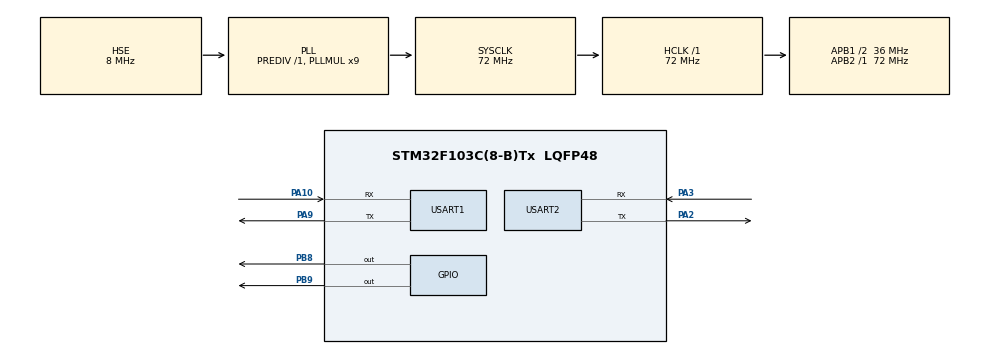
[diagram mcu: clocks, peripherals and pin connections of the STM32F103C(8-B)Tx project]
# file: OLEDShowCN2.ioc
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Dma.Request0=USART1_RX
Dma.Request1=USART1_TX
Dma.Request2=USART2_RX
Dma.Request3=USART2_TX
Dma.USART1_RX.0.Direction=DMA_PERIPH_TO_MEMORY
Dma.USART1_RX.0.Instance=DMA1_Channel5
Dma.USART1_RX.0.MemDataAlignment=DMA_MDATAALIGN_BYTE
Dma.USART1_RX.0.MemInc=DMA_MINC_ENABLE
Dma.USART1_RX.0.Mode=DMA_NORMAL
Dma.USART1_RX.0.PeriphDataAlignment=DMA_PDATAALIGN_BYTE
Dma.USART1_RX.0.PeriphInc=DMA_PINC_DISABLE
Dma.USART1_RX.0.Priority=DMA_PRIORITY_LOW
Dma.USART1_TX.1.Direction=DMA_MEMORY_TO_PERIPH
Dma.USART1_TX.1.Instance=DMA1_Channel4
Dma.USART1_TX.1.MemDataAlignment=DMA_MDATAALIGN_BYTE
Dma.USART1_TX.1.MemInc=DMA_MINC_ENABLE
Dma.USART1_TX.1.Mode=DMA_NORMAL
Dma.USART1_TX.1.PeriphDataAlignment=DMA_PDATAALIGN_BYTE
Dma.USART1_TX.1.PeriphInc=DMA_PINC_DISABLE
Dma.USART1_TX.1.Priority=DMA_PRIORITY_LOW
Dma.USART2_RX.2.Direction=DMA_PERIPH_TO_MEMORY
Dma.USART2_RX.2.Instance=DMA1_Channel6
Dma.USART2_RX.2.MemDataAlignment=DMA_MDATAALIGN_BYTE
Dma.USART2_RX.2.MemInc=DMA_MINC_ENABLE
Dma.USART2_RX.2.Mode=DMA_NORMAL
Dma.USART2_RX.2.PeriphDataAlignment=DMA_PDATAALIGN_BYTE
Dma.USART2_RX.2.PeriphInc=DMA_PINC_DISABLE
Dma.USART2_RX.2.Priority=DMA_PRIORITY_LOW
Dma.USART2_TX.3.Direction=DMA_MEMORY_TO_PERIPH
Dma.USART2_TX.3.Instance=DMA1_Channel7
Dma.USART2_TX.3.MemDataAlignment=DMA_MDATAALIGN_BYTE
Dma.USART2_TX.3.MemInc=DMA_MINC_ENABLE
Dma.USART2_TX.3.Mode=DMA_NORMAL
Dma.USART2_TX.3.PeriphDataAlignment=DMA_PDATAALIGN_BYTE
Dma.USART2_TX.3.PeriphInc=DMA_PINC_DISABLE
Dma.USART2_TX.3.Priority=DMA_PRIORITY_LOW
Mcu.Family=STM32F1
Mcu.Name=STM32F103C(8-B)Tx
Mcu.Package=LQFP48
NVIC.DMA1_Channel4_IRQn=true\:0\:0\:false\:false\:true\:false\:true\:true
NVIC.DMA1_Channel5_IRQn=true\:0\:0\:false\:false\:true\:false\:true\:true
NVIC.DMA1_Channel6_IRQn=true\:0\:0\:false\:false\:true\:false\:true\:true
NVIC.DMA1_Channel7_IRQn=true\:0\:0\:false\:false\:true\:false\:true\:true
NVIC.PriorityGroup=NVIC_PRIORITYGROUP_4
NVIC.USART1_IRQn=true\:0\:0\:false\:false\:true\:false\:true\:true
NVIC.USART2_IRQn=true\:0\:0\:false\:false\:true\:true\:true\:true
PA10.GPIO_Mode=GPIO_MODE_INPUT
PA10.Mode=Asynchronous
PA10.Signal=USART1_RX
PA13.Mode=Serial_Wire
PA13.Signal=SYS_JTMS-SWDIO
PA14.Mode=Serial_Wire
PA14.Signal=SYS_JTCK-SWCLK
PA2.Mode=Asynchronous
PA2.Signal=USART2_TX
PA3.Mode=Asynchronous
PA3.Signal=USART2_RX
PA9.Mode=Asynchronous
PA9.Signal=USART1_TX
PB8.GPIO_ModeDefaultOutputPP=GPIO_MODE_OUTPUT_OD
PB8.GPIO_PuPd=GPIO_PULLUP
PB8.Signal=GPIO_Output
PB9.GPIO_ModeDefaultOutputPP=GPIO_MODE_OUTPUT_OD
PB9.GPIO_PuPd=GPIO_PULLUP
PB9.Signal=GPIO_Output
PD0-OSC_IN.Mode=HSE-External-Oscillator
PD0-OSC_IN.Signal=RCC_OSC_IN
PD1-OSC_OUT.Mode=HSE-External-Oscillator
PD1-OSC_OUT.Signal=RCC_OSC_OUT
ProjectManager.HeapSize=0x200
ProjectManager.StackSize=0x400
ProjectManager.TargetToolchain=CMake
RCC.AHBFreq_Value=72000000
RCC.APB1CLKDivider=RCC_HCLK_DIV2
RCC.APB1Freq_Value=36000000
RCC.APB1TimFreq_Value=72000000
RCC.APB2Freq_Value=72000000
RCC.APB2TimFreq_Value=72000000
RCC.HCLKFreq_Value=72000000
RCC.PLLMUL=RCC_PLL_MUL9
RCC.PLLSourceVirtual=RCC_PLLSOURCE_HSE
RCC.SYSCLKFreq_VALUE=72000000
RCC.SYSCLKSource=RCC_SYSCLKSOURCE_PLLCLK
RCC.USBFreq_Value=72000000
USART1.VirtualMode=VM_ASYNC
USART2.VirtualMode=VM_ASYNC
board=custom

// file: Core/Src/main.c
/* USER CODE BEGIN Header */
/**
 ******************************************************************************
 * @file           : main.c
 * @brief          : Main program body
 ******************************************************************************
 * @attention
 *
 * Copyright (c) 2026 STMicroelectronics.
 * All rights reserved.
 *
 * This software is licensed under terms that can be found in the LICENSE file
 * in the root directory of this software component.
 * If no LICENSE file comes with this software, it is provided AS-IS.
 *
 ******************************************************************************
 */
/* USER CODE END Header */
#include "main.h"
#include "dma.h"
#include "usart.h"
#include "gpio.h"

/* USER CODE BEGIN Includes */
#include "OLED.h"
#include "UART_DMA.h"
#include "ESP8266.h"
#include "stdio.h"
#include "OLED.h"
/* USER CODE END Includes */

/* USER CODE BEGIN PV */
UART_IO_t  uart_pc;    /* 串口1：与电脑通信 */
UART_IO_t  uart_wifi;  /* 串口2：与ESP8266通信 */
ESP8266_t  esp;        /* ESP8266 实例 */
/* USER CODE END PV */

void SystemClock_Config(void);

/* USER CODE BEGIN 0 */

/* ESP8266 收到服务器数据时的回调 */
static void on_wifi_data(const char *data, uint16_t len)
{
    /* 把收到的数据转发到电脑串口 */
    UART_IO_Send(&uart_pc, (const uint8_t *)data, len);
}

/* USER CODE END 0 */

int main(void)
{

  /* MCU Configuration--------------------------------------------------------*/

  /* Reset of all peripherals, Initializes the Flash interface and the Systick. */
  HAL_Init();

  /* Configure the system clock */
  SystemClock_Config();

  /* Initialize all configured peripherals */
  OLED_Init();
  OLED_ShowCN(1,1,0);
  OLED_ShowString(2,1, "hello world");
  MX_GPIO_Init();
  MX_DMA_Init();
  MX_USART1_UART_Init();
  MX_USART2_UART_Init();
  /* USER CODE BEGIN 2 */
  UART_IO_Init(&uart_pc,   &huart1);
  UART_IO_Init(&uart_wifi, &huart2);
  UART_IO_StartReceive(&uart_pc);
  UART_IO_StartReceive(&uart_wifi);

  ESP8266_Init(&esp, &uart_wifi, on_wifi_data);

  UART_IO_Printf(&uart_pc, "Resetting ESP8266...\r\n");
  if (ESP8266_Reset(&esp) != ESP_OK) {
      UART_IO_Printf(&uart_pc, "Reset failed\r\n");
  }

  UART_IO_Printf(&uart_pc, "Connecting WiFi...\r\n");
  if (ESP8266_ConnectWiFi(&esp, "306", "1234m56m") != ESP_OK) {
      UART_IO_Printf(&uart_pc, "WiFi failed\r\n");
  }

  UART_IO_Printf(&uart_pc, "Connecting TCP...\r\n");
  if (ESP8266_ConnectTCP(&esp, "192.168.1.100", 8080) != ESP_OK) {
      UART_IO_Printf(&uart_pc, "TCP failed\r\n");
  } else {
      UART_IO_Printf(&uart_pc, "Connected!\r\n");
  }

  /* 获取 NTP 时间（东八区 UTC+8） */
  ESP_Time_t now;
  if (ESP8266_GetTime(&esp, 8, &now) == ESP_OK) {
      UART_IO_Printf(&uart_pc, "Time: %04d-%02d-%02d %02d:%02d:%02d\r\n",
                     now.year, now.month, now.day,
                     now.hour, now.minute, now.second);
  } else {
      UART_IO_Printf(&uart_pc, "Get time failed\r\n");
  }
  /* USER CODE END 2 */

  /* Infinite loop */
  while (1)
  {

    /* USER CODE BEGIN 3 */
    /* 处理 ESP8266 收到的数据（触发 on_wifi_data 回调） */
    ESP8266_Process(&esp);

    /* 电脑发来的数据 -> 通过 ESP8266 发出去 */
    uint8_t ch;
    char    cmd_buf[128];
    uint8_t cmd_len = 0;
    while (UART_IO_ReadByte(&uart_pc, &ch)) {
        if (ch == '\n' && cmd_len > 0) {
            /* 收到换行，发送这一行 */
            ESP8266_Send(&esp, cmd_buf, cmd_len);
            cmd_len = 0;
        } else if (ch != '\r' && cmd_len < sizeof(cmd_buf) - 1) {
            cmd_buf[cmd_len++] = (char)ch;
        }
    }

    HAL_Delay(1);
  }
  /* USER CODE END 3 */
}

void SystemClock_Config(void)
{
  RCC_OscInitTypeDef RCC_OscInitStruct = {0};
  RCC_ClkInitTypeDef RCC_ClkInitStruct = {0};

  /** Initializes the RCC Oscillators according to the specified parameters
  * in the RCC_OscInitTypeDef structure.
  */
  RCC_OscInitStruct.OscillatorType = RCC_OSCILLATORTYPE_HSE;
  RCC_OscInitStruct.HSEState = RCC_HSE_ON;
  RCC_OscInitStruct.HSEPredivValue = RCC_HSE_PREDIV_DIV1;
  RCC_OscInitStruct.HSIState = RCC_HSI_ON;
  RCC_OscInitStruct.PLL.PLLState = RCC_PLL_ON;
  RCC_OscInitStruct.PLL.PLLSource = RCC_PLLSOURCE_HSE;
  RCC_OscInitStruct.PLL.PLLMUL = RCC_PLL_MUL9;
  if (HAL_RCC_OscConfig(&RCC_OscInitStruct) != HAL_OK)
  {
    Error_Handler();
  }

  /** Initializes the CPU, AHB and APB buses clocks
  */
  RCC_ClkInitStruct.ClockType = RCC_CLOCKTYPE_HCLK|RCC_CLOCKTYPE_SYSCLK
                              |RCC_CLOCKTYPE_PCLK1|RCC_CLOCKTYPE_PCLK2;
  RCC_ClkInitStruct.SYSCLKSource = RCC_SYSCLKSOURCE_PLLCLK;
  RCC_ClkInitStruct.AHBCLKDivider = RCC_SYSCLK_DIV1;
  RCC_ClkInitStruct.APB1CLKDivider = RCC_HCLK_DIV2;
  RCC_ClkInitStruct.APB2CLKDivider = RCC_HCLK_DIV1;

  if (HAL_RCC_ClockConfig(&RCC_ClkInitStruct, FLASH_LATENCY_2) != HAL_OK)
  {
    Error_Handler();
  }
}

void Error_Handler(void)
{
  __disable_irq();
  while (1) {
  }
}
#ifdef USE_FULL_ASSERT
/**
  * @brief  Reports the name of the source file and the source line number
  *         where the assert_param error has occurred.
  * @param  file: pointer to the source file name
  * @param  line: assert_param error line source number
  * @retval None
  */
void assert_failed(uint8_t *file, uint32_t line)
{
  /* USER CODE BEGIN 6 */
  /* User can add his own implementation to report the file name and line
     number, ex: printf("Wrong parameters value: file %s on line %d\r\n", file,
     line) */
  /* USER CODE END 6 */
}
#endif /* USE_FULL_ASSERT */

void HAL_UART_TxCpltCallback(UART_HandleTypeDef *huart) {
  UART_IO_TxCpltCallback(&uart_pc,   huart);
  UART_IO_TxCpltCallback(&uart_wifi, huart);
}
